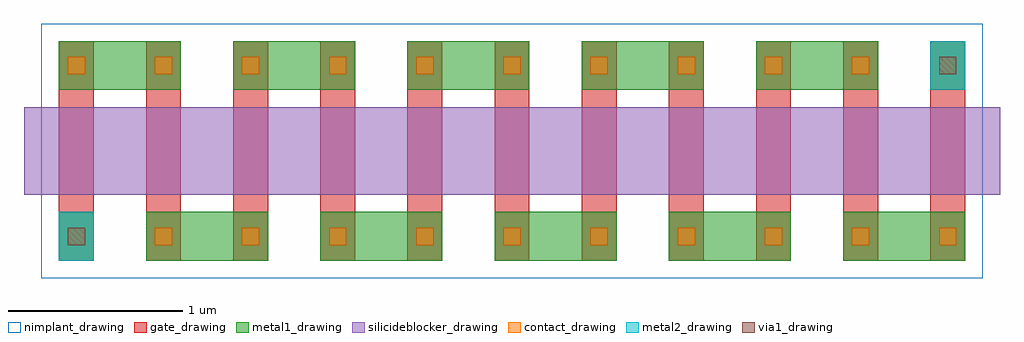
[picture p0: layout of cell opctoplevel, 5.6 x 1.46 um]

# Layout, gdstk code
import gdstk
lib = gdstk.Library(unit=1e-6, precision=1e-09)
def R(c, l, rs):  # rectangles x0, y0, x1, y1
    for r in rs: c.add(gdstk.rectangle(r[:2], r[2:], *l))
def A(c, l, x, y, w, h, nx, ny, dx, dy):  # array of equal rectangles
    R(c, l, [(x+i*dx, y+j*dy, x+i*dx+w, y+j*dy+h) for i in range(nx) for j in range(ny)])
nimplant_drawing = (5, 0)
gate_drawing = (6, 0)
contact_drawing = (7, 0)
metal1_drawing = (8, 0)
via1_drawing = (9, 0)
metal2_drawing = (10, 0)
silicideblocker_drawing = (28, 0)

opctoplevel = lib.new_cell('opctoplevel')
R(opctoplevel, nimplant_drawing, [(-0.1,-0.1,5.3,1.36)])
A(opctoplevel, gate_drawing, 0, 0, 0.2, 1.26, 11, 1, 0.5, 0)
A(opctoplevel, gate_drawing, 0, 0, 0.2, 0.28, 11, 2, 0.5, 0.98)
A(opctoplevel, contact_drawing, 0.05, 0.09, 0.1, 0.1, 11, 2, 0.5, 0.98)
A(opctoplevel, metal1_drawing, 0, 0, 0.2, 0.28, 11, 2, 0.5, 0.98)
A(opctoplevel, metal1_drawing, 0.5, 0, 0.7, 0.28, 5, 1, 1, 0)
A(opctoplevel, metal1_drawing, 0, 0.98, 0.7, 0.28, 5, 1, 1, 0)
R(opctoplevel, metal1_drawing, [(0,0,0.2,0.28), (5,0.98,5.2,1.26)])
R(opctoplevel, via1_drawing, [(0.05,0.09,0.15,0.19), (5.05,1.07,5.15,1.17)])
R(opctoplevel, metal2_drawing, [(0,0,0.2,0.28), (5,0.98,5.2,1.26)])
R(opctoplevel, silicideblocker_drawing, [(-0.2,0.38,5.4,0.88)])

lib.write_gds('opctoplevel.gds')
